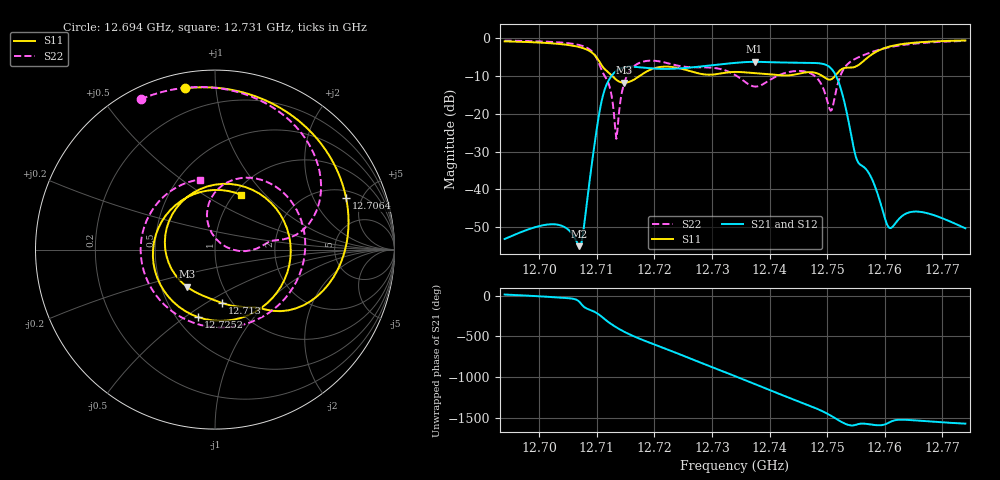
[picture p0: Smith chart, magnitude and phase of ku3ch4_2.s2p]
#  HZ  S  RI  R  50.00
! Rohde & Schwarz ZVA50 2Ports - Version 3.70 - 1145.1110k50 SN: 100192
! Date: 2025-10-24 10:34:22
! Measurements: S11 S21 S12 S22
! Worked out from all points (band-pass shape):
!   401 points, 12.694 GHz to 12.774 GHz, reference 50 ohm
!   highest |S21| = -6.21 dB at 12.7374 GHz (marker M1); lowest = -55.0 dB at 12.707 GHz (marker M2)
!   |S21| within 3 dB of the highest: 12.71296 GHz to 12.75128 GHz (38.32 MHz wide, 0.301 % of centre)
!   lowest |S11| = -11.7 dB at 12.7148 GHz (marker M3), VSWR 1.70, Z = 33.8 - j14.9 ohm
!   |S11| at or under -10 dB: 12.7127 GHz to 12.7174 GHz (4.702 MHz wide, 0.037 % of centre); 12.74921 GHz to 12.75134 GHz (2.13 MHz wide, 0.0167 % of centre)
!   |S22| runs from -26.6 to -0.6 dB; largest |S21 - S12| = 0.00015
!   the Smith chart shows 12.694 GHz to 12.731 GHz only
!   S11 on the Smith chart (normalised r, x): 12.694 GHz: 0.08, +0.83; 12.7064 GHz: 2.48, +3.70; 12.713 GHz: 0.90, -0.59; 12.7252 GHz: 0.63, -0.56; 12.731 GHz: 1.08, +0.74
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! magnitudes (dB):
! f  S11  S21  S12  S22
! 12.694 GHz  -0.8  -53.1  -53.1  -0.6
! 12.7024 GHz  -1.3  -49.2  -49.2  -1.0
! 12.7064 GHz  -2.1  -53.5  -53.5  -1.6
! 12.707 GHz  -2.3  -55.0  -55.0  -1.8
! 12.7074 GHz  -2.5  -53.8  -53.8  -1.9
! 12.7106 GHz  -6.5  -18.4  -18.4  -7.5
! 12.7122 GHz  -9.3  -10.8  -10.8  -12.7
! 12.713 GHz  -10.5  -9.1  -9.1  -20.2
! 12.7136 GHz  -11.2  -8.4  -8.4  -24.2
! 12.7148 GHz  -11.7  -7.7  -7.7  -11.7
! 12.7208 GHz  -7.6  -8.1  -8.1  -6.1
! 12.7252 GHz  -8.2  -7.9  -7.9  -7.5
! 12.731 GHz  -9.4  -7.0  -6.9  -8.0
! 12.734 GHz  -8.9  -6.5  -6.5  -9.7
! 12.7374 GHz  -9.2  -6.2  -6.2  -12.8
! 12.7474 GHz  -9.0  -6.5  -6.5  -9.5
! 12.7506 GHz  -10.9  -7.8  -7.8  -19.2
! 12.7536 GHz  -7.7  -21.1  -21.1  -6.7
! 12.7552 GHz  -7.3  -32.3  -32.3  -5.2
! 12.7608 GHz  -2.2  -50.2  -50.2  -2.4
! 12.7654 GHz  -1.1  -45.9  -45.8  -1.4
! 12.774 GHz  -0.6  -50.3  -50.3  -0.7
